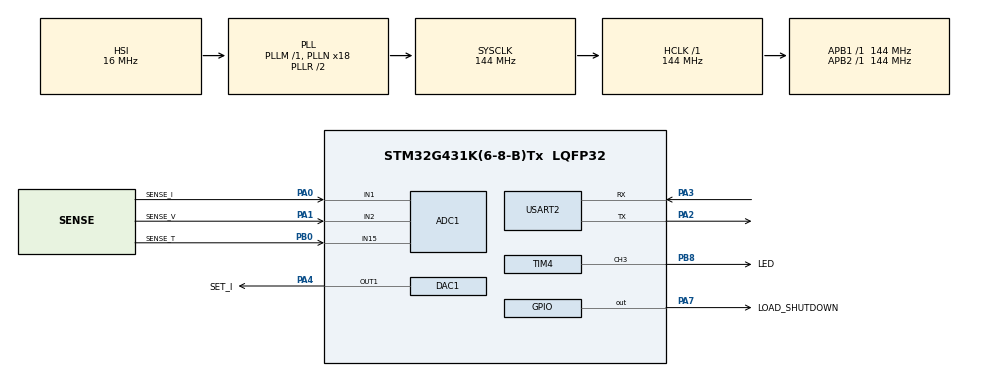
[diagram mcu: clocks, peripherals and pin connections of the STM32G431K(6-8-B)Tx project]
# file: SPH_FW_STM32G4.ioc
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ADC1.Channel-0\#ChannelRegularConversion=ADC_CHANNEL_1
ADC1.Channel-1\#ChannelRegularConversion=ADC_CHANNEL_2
ADC1.Channel-2\#ChannelRegularConversion=ADC_CHANNEL_15
ADC1.Channel-3\#ChannelRegularConversion=ADC_CHANNEL_TEMPSENSOR_ADC1
ADC1.Channel-4\#ChannelRegularConversion=ADC_CHANNEL_VREFINT
ADC1.ClockPrescaler=ADC_CLOCK_ASYNC_DIV1
ADC1.DMAContinuousRequests=ENABLE
ADC1.EOCSelection=ADC_EOC_SEQ_CONV
ADC1.ExternalTrigConv=ADC_EXTERNALTRIG_T15_TRGO
ADC1.NbrOfConversion=5
ADC1.NbrOfConversionFlag=1
ADC1.OffsetNumber-0\#ChannelRegularConversion=ADC_OFFSET_NONE
ADC1.OffsetNumber-1\#ChannelRegularConversion=ADC_OFFSET_NONE
ADC1.OffsetNumber-2\#ChannelRegularConversion=ADC_OFFSET_NONE
ADC1.OffsetNumber-3\#ChannelRegularConversion=ADC_OFFSET_NONE
ADC1.OffsetNumber-4\#ChannelRegularConversion=ADC_OFFSET_NONE
ADC1.Overrun=ADC_OVR_DATA_OVERWRITTEN
ADC1.OversamplingMode=ENABLE
ADC1.Rank-0\#ChannelRegularConversion=1
ADC1.Rank-1\#ChannelRegularConversion=2
ADC1.Rank-2\#ChannelRegularConversion=3
ADC1.Rank-3\#ChannelRegularConversion=4
ADC1.Rank-4\#ChannelRegularConversion=5
ADC1.Ratio=ADC_OVERSAMPLING_RATIO_16
ADC1.SamplingTime-0\#ChannelRegularConversion=ADC_SAMPLETIME_92CYCLES_5
ADC1.SamplingTime-1\#ChannelRegularConversion=ADC_SAMPLETIME_92CYCLES_5
ADC1.SamplingTime-2\#ChannelRegularConversion=ADC_SAMPLETIME_92CYCLES_5
ADC1.SamplingTime-3\#ChannelRegularConversion=ADC_SAMPLETIME_92CYCLES_5
ADC1.SamplingTime-4\#ChannelRegularConversion=ADC_SAMPLETIME_92CYCLES_5
ADC1.master=1
DAC1.DAC_OutputBuffer-DAC_OUT1=DAC_OUTPUTBUFFER_DISABLE
Dma.ADC1.2.Direction=DMA_PERIPH_TO_MEMORY
Dma.ADC1.2.EventEnable=DISABLE
Dma.ADC1.2.Instance=DMA1_Channel3
Dma.ADC1.2.MemDataAlignment=DMA_MDATAALIGN_HALFWORD
Dma.ADC1.2.MemInc=DMA_MINC_ENABLE
Dma.ADC1.2.Mode=DMA_CIRCULAR
Dma.ADC1.2.PeriphDataAlignment=DMA_PDATAALIGN_HALFWORD
Dma.ADC1.2.PeriphInc=DMA_PINC_DISABLE
Dma.ADC1.2.Polarity=HAL_DMAMUX_REQ_GEN_RISING
Dma.ADC1.2.Priority=DMA_PRIORITY_LOW
Dma.ADC1.2.RequestNumber=1
Dma.ADC1.2.SignalID=NONE
Dma.ADC1.2.SyncEnable=DISABLE
Dma.ADC1.2.SyncPolarity=HAL_DMAMUX_SYNC_NO_EVENT
Dma.ADC1.2.SyncRequestNumber=1
Dma.ADC1.2.SyncSignalID=NONE
Dma.Request0=USART2_TX
Dma.Request1=USART2_RX
Dma.Request2=ADC1
Dma.USART2_RX.1.Direction=DMA_PERIPH_TO_MEMORY
Dma.USART2_RX.1.EventEnable=DISABLE
Dma.USART2_RX.1.Instance=DMA1_Channel2
Dma.USART2_RX.1.MemDataAlignment=DMA_MDATAALIGN_BYTE
Dma.USART2_RX.1.MemInc=DMA_MINC_ENABLE
Dma.USART2_RX.1.Mode=DMA_NORMAL
Dma.USART2_RX.1.PeriphDataAlignment=DMA_PDATAALIGN_BYTE
Dma.USART2_RX.1.PeriphInc=DMA_PINC_DISABLE
Dma.USART2_RX.1.Polarity=HAL_DMAMUX_REQ_GEN_RISING
Dma.USART2_RX.1.Priority=DMA_PRIORITY_LOW
Dma.USART2_RX.1.RequestNumber=1
Dma.USART2_RX.1.SignalID=NONE
Dma.USART2_RX.1.SyncEnable=DISABLE
Dma.USART2_RX.1.SyncPolarity=HAL_DMAMUX_SYNC_NO_EVENT
Dma.USART2_RX.1.SyncRequestNumber=1
Dma.USART2_RX.1.SyncSignalID=NONE
Dma.USART2_TX.0.Direction=DMA_MEMORY_TO_PERIPH
Dma.USART2_TX.0.EventEnable=DISABLE
Dma.USART2_TX.0.Instance=DMA1_Channel1
Dma.USART2_TX.0.MemDataAlignment=DMA_MDATAALIGN_BYTE
Dma.USART2_TX.0.MemInc=DMA_MINC_ENABLE
Dma.USART2_TX.0.Mode=DMA_NORMAL
Dma.USART2_TX.0.PeriphDataAlignment=DMA_PDATAALIGN_BYTE
Dma.USART2_TX.0.PeriphInc=DMA_PINC_DISABLE
Dma.USART2_TX.0.Polarity=HAL_DMAMUX_REQ_GEN_RISING
Dma.USART2_TX.0.Priority=DMA_PRIORITY_LOW
Dma.USART2_TX.0.RequestNumber=1
Dma.USART2_TX.0.SignalID=NONE
Dma.USART2_TX.0.SyncEnable=DISABLE
Dma.USART2_TX.0.SyncPolarity=HAL_DMAMUX_SYNC_NO_EVENT
Dma.USART2_TX.0.SyncRequestNumber=1
Dma.USART2_TX.0.SyncSignalID=NONE
Mcu.Family=STM32G4
Mcu.Name=STM32G431K(6-8-B)Tx
Mcu.Package=LQFP32
NVIC.ADC1_2_IRQn=true\:0\:0\:false\:false\:true\:true\:true\:true
NVIC.DMA1_Channel1_IRQn=true\:0\:0\:false\:false\:true\:false\:false\:true
NVIC.DMA1_Channel2_IRQn=true\:0\:0\:false\:false\:true\:false\:false\:true
NVIC.DMA1_Channel3_IRQn=true\:0\:0\:false\:false\:true\:false\:true\:true
NVIC.PriorityGroup=NVIC_PRIORITYGROUP_4
NVIC.USART2_IRQn=true\:0\:0\:false\:false\:true\:true\:false\:true
PA0.GPIO_Label=SENSE_I
PA0.Mode=IN1-Single-Ended
PA0.Signal=ADC1_IN1
PA1.GPIO_Label=SENSE_V
PA1.Mode=IN2-Single-Ended
PA1.Signal=ADC1_IN2
PA13.Mode=Trace_Asynchronous_SW
PA13.Signal=SYS_JTMS-SWDIO
PA14.Mode=Trace_Asynchronous_SW
PA14.Signal=SYS_JTCK-SWCLK
PA2.Mode=Asynchronous
PA2.Signal=USART2_TX
PA3.Mode=Asynchronous
PA3.Signal=USART2_RX
PA4.GPIO_Label=SET_I
PA4.Signal=COMP_DAC11_group
PA7.GPIO_Label=LOAD_SHUTDOWN
PA7.Signal=GPIO_Output
PB0.GPIO_Label=SENSE_T
PB0.Mode=IN15-Single-Ended
PB0.Signal=ADC1_IN15
PB3.Mode=Trace_Asynchronous_SW
PB3.Signal=SYS_JTDO-SWO
PB8-BOOT0.GPIO_Label=LED
PB8-BOOT0.Signal=S_TIM4_CH3
ProjectManager.HeapSize=0x200
ProjectManager.StackSize=0x400
ProjectManager.TargetToolchain=STM32CubeIDE
RCC.ADC12CLockSelection=RCC_ADC12CLKSOURCE_PLL
RCC.ADC12Freq_Value=36000000
RCC.AHBFreq_Value=144000000
RCC.APB1Freq_Value=144000000
RCC.APB1TimFreq_Value=144000000
RCC.APB2Freq_Value=144000000
RCC.APB2TimFreq_Value=144000000
RCC.CortexFreq_Value=144000000
RCC.EXTERNAL_CLOCK_VALUE=12288000
RCC.HCLKFreq_Value=144000000
RCC.HSE_VALUE=8000000
RCC.HSI48_VALUE=48000000
RCC.HSI_VALUE=16000000
RCC.LSE_VALUE=32768
RCC.PLLN=18
RCC.PLLP=RCC_PLLP_DIV8
RCC.SYSCLKFreq_VALUE=144000000
RCC.SYSCLKSource=RCC_SYSCLKSOURCE_PLLCLK
RCC.USBFreq_Value=144000000
RCC.VCOOutputFreq_Value=288000000
SH.COMP_DAC11_group.0=DAC1_OUT1,DAC_OUT1
SH.S_TIM4_CH3.0=TIM4_CH3,PWM Generation3 CH3
TIM15.PeriodNoDither=999
TIM15.Prescaler=144-1
TIM15.TIM_MasterOutputTrigger=TIM_TRGO_UPDATE
TIM2.Prescaler=144-1
TIM4.Channel-PWM\ Generation3\ CH3=TIM_CHANNEL_3
TIM4.PeriodNoDither=254
TIM4.Prescaler=144-1
USART2.VirtualMode-Asynchronous=VM_ASYNC
VP_ADC1_TempSens_Input.Mode=IN-TempSens
VP_ADC1_Vref_Input.Mode=IN-Vrefint
VP_SYS_VS_DBSignals.Mode=DisableDeadBatterySignals
VP_TIM15_VS_ClockSourceINT.Mode=Internal
VP_TIM2_VS_ClockSourceINT.Mode=Internal
VP_TIM4_VS_ClockSourceINT.Mode=Internal
board=custom

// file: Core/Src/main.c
/* USER CODE BEGIN Header */
/**
  ******************************************************************************
  * @file           : main.c
  * @brief          : Main program body
  ******************************************************************************
  * @attention
  *
  * Copyright (c) 2025 STMicroelectronics.
  * All rights reserved.
  *
  * This software is licensed under terms that can be found in the LICENSE file
  * in the root directory of this software component.
  * If no LICENSE file comes with this software, it is provided AS-IS.
  *
  ******************************************************************************
  */
/* USER CODE END Header */
#include "main.h"
#include "adc.h"
#include "dac.h"
#include "dma.h"
#include "tim.h"
#include "usart.h"
#include "gpio.h"

/* USER CODE BEGIN Includes */
#include <stdio.h>
#include <Logger.h>
#include <Timer/TimerMicro.h>
/* USER CODE END Includes */

/* USER CODE BEGIN PV */
SerialHandler_Instance_t gVcpHandler =
{
	.pUsart = &huart2,

	.pBuffer = NULL,
	.bufferSize = 0,

	.triggerOnTimeout = false,
	.timeoutBitsCount = 0,

	.triggerOnStopBytes = false,
	.pStopBytes = NULL,
	.stopBytesSize = 0,

	.pListenerCallback = NULL
};
/* USER CODE END PV */

void SystemClock_Config(void);

int main(void)
{

  /* MCU Configuration--------------------------------------------------------*/

  /* Reset of all peripherals, Initializes the Flash interface and the Systick. */
  HAL_Init();

  /* Configure the system clock */
  SystemClock_Config();

  /* Initialize all configured peripherals */
  MX_GPIO_Init();
  MX_DMA_Init();
  MX_ADC1_Init();
  MX_DAC1_Init();
  MX_TIM2_Init();
  MX_TIM4_Init();
  MX_USART2_UART_Init();
  MX_TIM15_Init();
  /* USER CODE BEGIN 2 */
  TimerMicro_Init(&htim2);
  SerialHandler_Init(&gVcpHandler);
  /* USER CODE END 2 */

  /* Infinite loop */
  /* USER CODE BEGIN WHILE */
  const char message[] = "Hello World!\r\n";
  TimerMicro_t timer;
  TimerMicro_Reset(&timer);
  while (1)
  {
	if(TimerMicro_Check(&timer) >= 500000)
	{
		TimerMicro_Reset(&timer);
		LOG_INFO("HELLO");

		while(SerialHandler_IsTxBusy(&gVcpHandler));
		assert_param(SerialHandler_SendData(&gVcpHandler, (uint8_t *)message, sizeof(message)) == SUCCESS);

	}

    /* USER CODE END WHILE */

  }
}

void SystemClock_Config(void)
{
  RCC_OscInitTypeDef RCC_OscInitStruct = {0};
  RCC_ClkInitTypeDef RCC_ClkInitStruct = {0};

  /** Configure the main internal regulator output voltage
  */
  HAL_PWREx_ControlVoltageScaling(PWR_REGULATOR_VOLTAGE_SCALE1);

  /** Initializes the RCC Oscillators according to the specified parameters
  * in the RCC_OscInitTypeDef structure.
  */
  RCC_OscInitStruct.OscillatorType = RCC_OSCILLATORTYPE_HSI;
  RCC_OscInitStruct.HSIState = RCC_HSI_ON;
  RCC_OscInitStruct.HSICalibrationValue = RCC_HSICALIBRATION_DEFAULT;
  RCC_OscInitStruct.PLL.PLLState = RCC_PLL_ON;
  RCC_OscInitStruct.PLL.PLLSource = RCC_PLLSOURCE_HSI;
  RCC_OscInitStruct.PLL.PLLM = RCC_PLLM_DIV1;
  RCC_OscInitStruct.PLL.PLLN = 18;
  RCC_OscInitStruct.PLL.PLLP = RCC_PLLP_DIV8;
  RCC_OscInitStruct.PLL.PLLQ = RCC_PLLQ_DIV2;
  RCC_OscInitStruct.PLL.PLLR = RCC_PLLR_DIV2;
  if (HAL_RCC_OscConfig(&RCC_OscInitStruct) != HAL_OK)
  {
    Error_Handler();
  }

  /** Initializes the CPU, AHB and APB buses clocks
  */
  RCC_ClkInitStruct.ClockType = RCC_CLOCKTYPE_HCLK|RCC_CLOCKTYPE_SYSCLK
                              |RCC_CLOCKTYPE_PCLK1|RCC_CLOCKTYPE_PCLK2;
  RCC_ClkInitStruct.SYSCLKSource = RCC_SYSCLKSOURCE_PLLCLK;
  RCC_ClkInitStruct.AHBCLKDivider = RCC_SYSCLK_DIV1;
  RCC_ClkInitStruct.APB1CLKDivider = RCC_HCLK_DIV1;
  RCC_ClkInitStruct.APB2CLKDivider = RCC_HCLK_DIV1;

  if (HAL_RCC_ClockConfig(&RCC_ClkInitStruct, FLASH_LATENCY_4) != HAL_OK)
  {
    Error_Handler();
  }
}

/* USER CODE BEGIN 4 */
int _write(int le, char *ptr, int len)
{
	int DataIdx;

	for(DataIdx = 0; DataIdx < len; DataIdx++)
	{
		ITM_SendChar(*ptr++);
	}

	return len;
}

uint32_t Logger_GetTimestamp(void)
{
	return __HAL_TIM_GET_COUNTER(&htim2);
}

void Platform_OutputEnable(bool enable)
{
	HAL_GPIO_WritePin(LOAD_SHUTDOWN_GPIO_Port, LOAD_SHUTDOWN_Pin, enable ? GPIO_PIN_SET : GPIO_PIN_RESET);
}
/* USER CODE END 4 */

void Error_Handler(void)
{
  /* USER CODE BEGIN Error_Handler_Debug */
  /* User can add his own implementation to report the HAL error return state */
  __disable_irq();
  Platform_OutputEnable(false);
  while (1)
  {
	  HAL_GPIO_TogglePin(LED_GPIO_Port, LED_Pin);
	  HAL_Delay(250);
  }
  /* USER CODE END Error_Handler_Debug */
}

#ifdef  USE_FULL_ASSERT
/**
  * @brief  Reports the name of the source file and the source line number
  *         where the assert_param error has occurred.
  * @param  file: pointer to the source file name
  * @param  line: assert_param error line source number
  * @retval None
  */
void assert_failed(uint8_t *file, uint32_t line)
{
  /* USER CODE BEGIN 6 */
  /* User can add his own implementation to report the file name and line number,
     ex: printf("Wrong parameters value: file %s on line %d\r\n", file, line) */

  Logger_LogMessageTrace(LOGGER_VERBOSITY_ERROR, (const char *)file, line, "assert_param() failed.");
  Error_Handler();
  /* USER CODE END 6 */
}
#endif /* USE_FULL_ASSERT */
